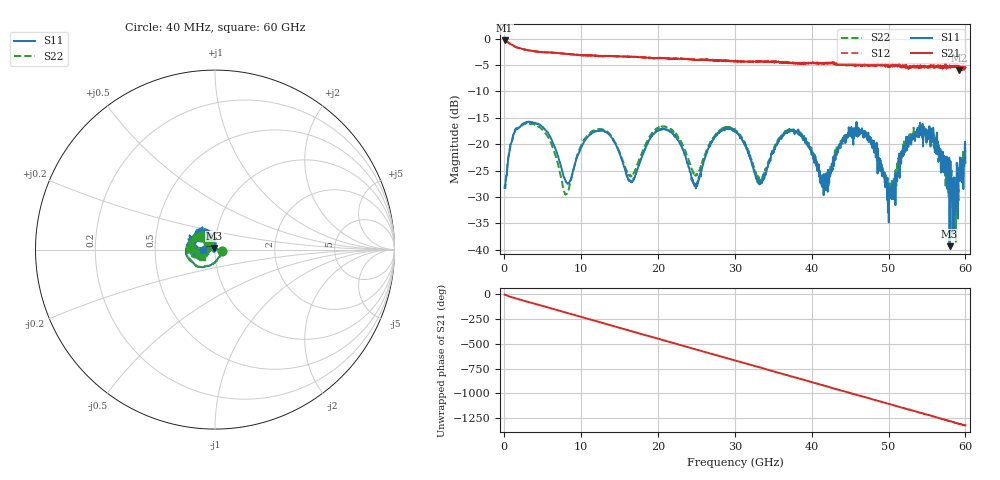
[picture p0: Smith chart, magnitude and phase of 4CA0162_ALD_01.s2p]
! File created by 'SoftPlot +Plus+ Measurement Management Software'
! SoftPlot +Plus+ Measurement Management Software
! Start 40.000000 MHz  Stop 60.000000 GHz  Points 1601
# MHZ S RI R 50
! S-Parameter data, F S11 S21 S12 S22
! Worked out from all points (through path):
!   1601 points, 40 MHz to 60 GHz, reference 50 ohm
!   highest |S21| = -0.35 dB at 40 MHz (marker M1); lowest = -6.0 dB at 59.21 GHz (marker M2)
!   group delay of S21, straight-line fit = 61.1 ps
!   lowest |S11| = -39.3 dB at 57.94 GHz (marker M3), VSWR 1.02, Z = 49.5 + j0.972 ohm
!   |S11| at or under -10 dB: start of sweep to end of sweep
!   |S22| runs from -38.5 to -16.1 dB; largest |S21 - S12| = 0.054
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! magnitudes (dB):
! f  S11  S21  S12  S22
! 40 MHz  -28.3  -0.3  -0.4  -27.7
! 1.202 GHz  -18.2  -1.3  -1.3  -18.1
! 2.663 GHz  -16.0  -2.1  -2.0  -16.2
! 5.661 GHz  -17.8  -2.6  -2.6  -18.5
! 8.022 GHz  -27.1  -2.9  -2.9  -29.5
! 10.05 GHz  -20.6  -3.2  -3.1  -20.2
! 13.31 GHz  -17.7  -3.3  -3.3  -17.5
! 16.49 GHz  -27.2  -3.4  -3.4  -26.1
! 20.05 GHz  -17.4  -3.7  -3.6  -16.9
! 24.89 GHz  -27.6  -4.0  -3.9  -25.8
! 30.02 GHz  -17.4  -4.3  -4.2  -17.2
! 33.24 GHz  -27.1  -4.3  -4.4  -26.7
! 36.84 GHz  -17.6  -4.6  -4.6  -17.6
! 40.03 GHz  -21.6  -4.6  -4.6  -21.5
! 41.79 GHz  -28.1  -4.6  -4.7  -27.1
! 44.86 GHz  -17.5  -5.0  -4.9  -17.5
! 47.07 GHz  -17.7  -5.1  -5.1  -17.8
! 50.03 GHz  -34.9  -5.2  -5.0  -28.8
! 54.15 GHz  -18.0  -5.4  -5.3  -17.2
! 57.94 GHz  -39.3  -5.3  -5.4  -26.6
! 59.21 GHz  -26.0  -6.0  -5.3  -26.2
! 60 GHz  -23.5  -5.4  -5.8  -21.4
